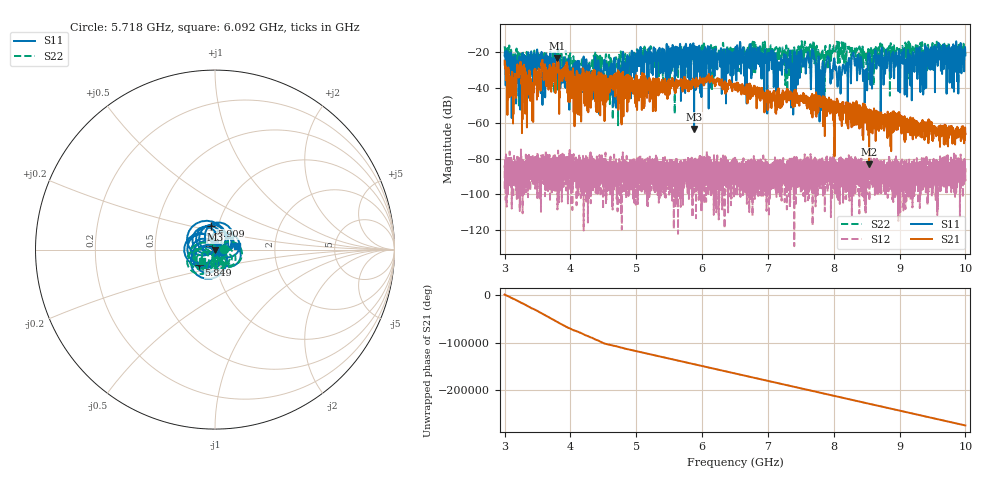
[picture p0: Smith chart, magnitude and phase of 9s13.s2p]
!Agilent Technologies,E8363B,MY43030572,A.06.04.32
!Agilent E8363B: A.06.04.32
!Date: Tuesday, June 07, 2011 09:24:55
!Correction: S11(Full 2 Port(1,2)) S21(Full 2 Port(1,2)) S12(Full 2 Port(1,2)) S22(Full 2 Port(1,2))
!S2P File: Measurements: S11, S21, S12, S22:
# Hz S  dB  R 50
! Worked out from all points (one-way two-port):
!   6401 points, 3 GHz to 10 GHz, reference 50 ohm
!   highest |S21| = -23.46 dB at 3.8 GHz (marker M1); lowest = -82.8 dB at 8.538 GHz (marker M2)
!   lowest |S11| = -63.2 dB at 5.879 GHz (marker M3), VSWR 1.00, Z = 50 - j0.0616 ohm
!   |S11| at or under -10 dB: start of sweep to end of sweep
!   |S22| runs from -61.1 to -13.4 dB; largest |S21 - S12| = 0.067
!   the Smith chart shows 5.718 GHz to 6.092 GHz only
!   S11 on the Smith chart (normalised r, x): 5.718 GHz: 1.08, -0.02; 5.849 GHz: 0.83, -0.15; 5.909 GHz: 0.93, +0.25; 6.092 GHz: 1.28, +0.05
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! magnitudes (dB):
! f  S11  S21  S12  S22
! 3 GHz  -21.8  -24.8  -96.6  -16.7
! 3.108 GHz  -37.7  -34.7  -108.0  -20.9
! 3.22 GHz  -25.3  -30.1  -85.6  -27.9
! 3.413 GHz  -27.1  -43.6  -83.7  -23.9
! 3.588 GHz  -28.2  -29.6  -80.2  -24.2
! 3.8 GHz  -29.0  -23.5  -86.7  -41.1
! 4.167 GHz  -30.4  -37.0  -88.2  -26.3
! 5.334 GHz  -19.6  -44.3  -82.3  -25.8
! 5.718 GHz  -28.4  -37.9  -92.6  -26.1
! 5.849 GHz  -18.1  -37.2  -88.0  -19.2
! 5.879 GHz  -63.2  -36.2  -99.0  -22.6
! 5.909 GHz  -17.5  -34.6  -89.6  -20.8
! 6.092 GHz  -18.0  -33.2  -78.6  -20.2
! 6.5 GHz  -23.2  -39.1  -84.3  -22.2
! 7.667 GHz  -20.9  -51.1  -97.1  -16.9
! 7.818 GHz  -39.3  -47.7  -91.2  -22.0
! 7.908 GHz  -22.3  -48.8  -87.8  -28.5
! 8.082 GHz  -29.0  -52.8  -86.9  -16.7
! 8.305 GHz  -21.4  -49.1  -92.7  -18.5
! 8.538 GHz  -20.6  -82.8  -82.2  -32.7
! 8.834 GHz  -20.5  -66.9  -83.9  -20.1
! 10 GHz  -21.7  -66.0  -85.2  -20.6
